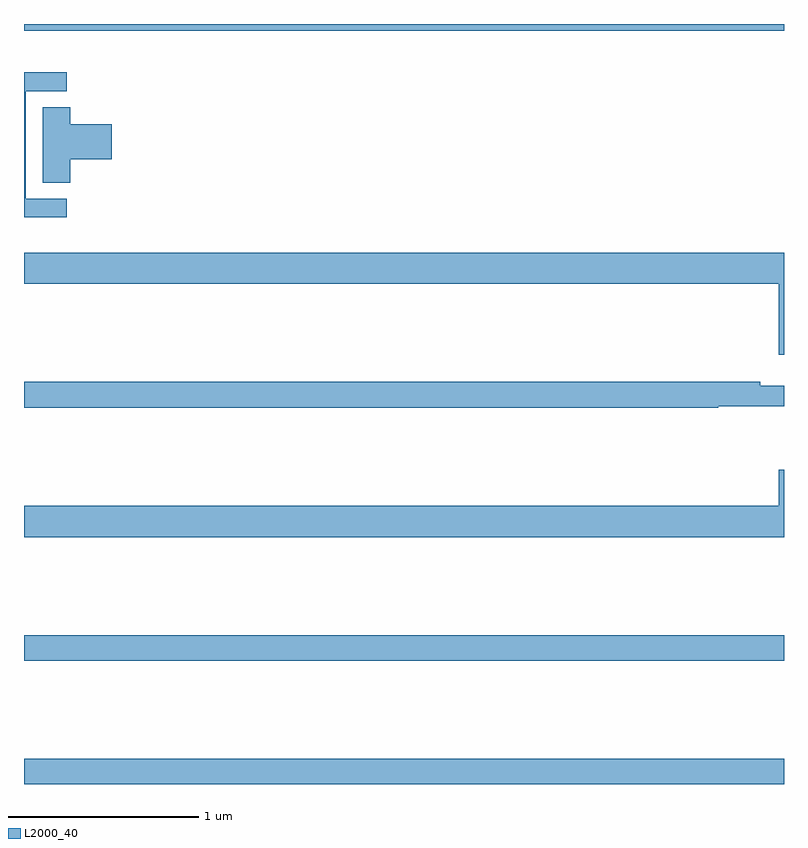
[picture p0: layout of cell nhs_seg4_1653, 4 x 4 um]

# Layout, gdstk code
import gdstk
lib = gdstk.Library(unit=1e-6, precision=1e-09)
def R(c, l, rs):  # rectangles x0, y0, x1, y1
    for r in rs: c.add(gdstk.rectangle(r[:2], r[2:], *l))
def P(c, l, *ps):  # polygons
    for p in ps: c.add(gdstk.Polygon(p, *l))
L2000_40 = (2000, 40)

nhs_seg4_1653 = lib.new_cell('nhs_seg4_1653')
R(nhs_seg4_1653, L2000_40, [(197,748.9,201,749.032), (197,749.548,201,749.684), (197,752.864,201,752.9)])
P(nhs_seg4_1653, L2000_40, [(197.224,751.98),(197.01,751.98),(197.01,752.547),(197.224,752.547),(197.224,752.646),(197,752.646),(197,751.884),(197.224,751.884)],
  [(197.243,752.189),(197.461,752.189),(197.461,752.372),(197.243,752.372),(197.243,752.462),(197.099,752.462),(197.099,752.065),(197.243,752.065)],
  [(201,751.696),(197,751.696),(197,751.532),(200.972,751.532),(200.972,751.158),(201,751.158)],
  [(200.655,750.888),(201,750.888),(201,750.997),(200.876,750.997),(200.876,751.016),(197,751.016),(197,750.88),(200.655,750.88)],
  [(201,750.553),(200.972,750.553),(200.972,750.364),(197,750.364),(197,750.2),(201,750.2)])

lib.write_gds('nhs_seg4_1653.gds')
